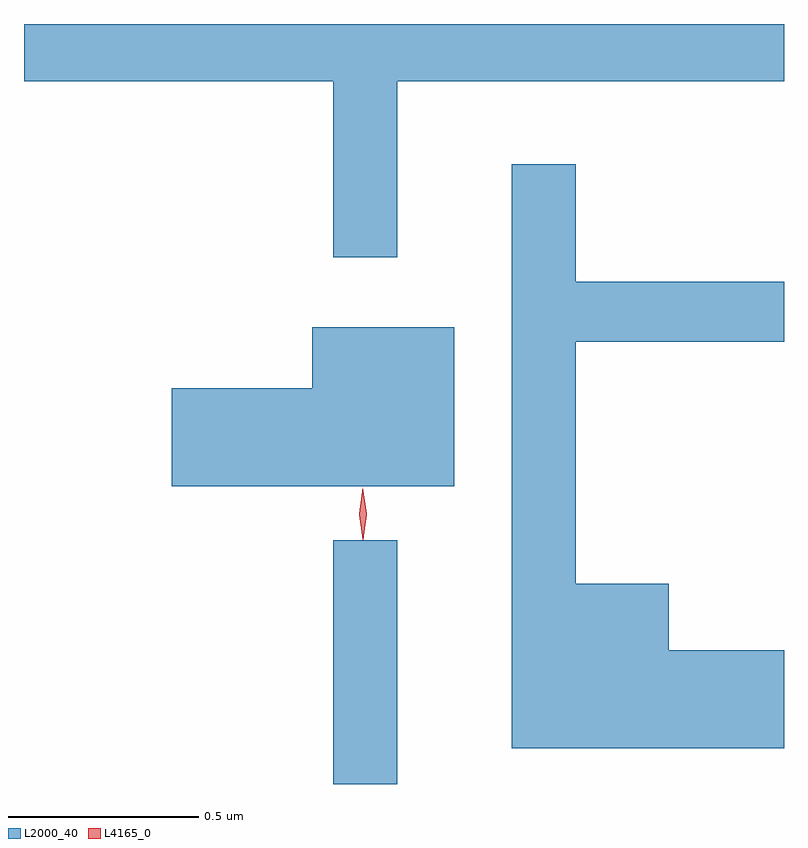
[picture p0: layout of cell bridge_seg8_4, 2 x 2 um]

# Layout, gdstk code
import gdstk
lib = gdstk.Library(unit=1e-6, precision=1e-09)
def R(c, l, rs):  # rectangles x0, y0, x1, y1
    for r in rs: c.add(gdstk.rectangle(r[:2], r[2:], *l))
def P(c, l, *ps):  # polygons
    for p in ps: c.add(gdstk.Polygon(p, *l))
L2000_40 = (2000, 40)
L4165_0 = (4165, 0)

bridge_seg8_4 = lib.new_cell('bridge_seg8_4')
R(bridge_seg8_4, L2000_40, [(1658.721,1910.047,1658.889,1910.688)])
P(bridge_seg8_4, L2000_40, [(1658.889,1911.896),(1659.907,1911.896),(1659.907,1912.047),(1657.907,1912.047),(1657.907,1911.896),(1658.721,1911.896),(1658.721,1911.433),(1658.889,1911.433)],
  [(1659.907,1910.399),(1659.604,1910.399),(1659.604,1910.574),(1659.359,1910.574),(1659.359,1911.211),(1659.907,1911.211),(1659.907,1911.369),(1659.359,1911.369),(1659.359,1911.678),(1659.191,1911.678),(1659.191,1910.141),(1659.907,1910.141)],
  [(1659.039,1911.249),(1658.666,1911.249),(1658.666,1911.089),(1658.296,1911.089),(1658.296,1910.831),(1659.039,1910.831)])
P(bridge_seg8_4, L4165_0, [(1658.799,1910.69),(1658.789,1910.758),(1658.798,1910.826),(1658.798,1910.826),(1658.799,1910.826),(1658.809,1910.758),(1658.8,1910.69),(1658.8,1910.69)],
  [(1658.799,1910.693),(1658.789,1910.756),(1658.798,1910.819),(1658.798,1910.82),(1658.799,1910.819),(1658.809,1910.756),(1658.8,1910.693),(1658.8,1910.693)])

lib.write_gds('bridge_seg8_4.gds')
